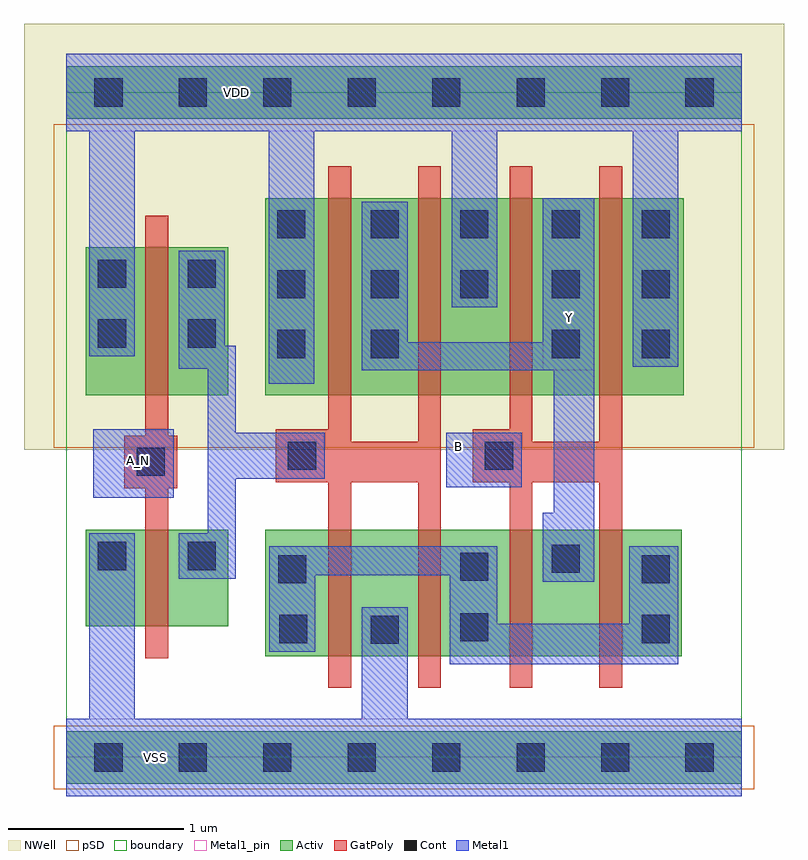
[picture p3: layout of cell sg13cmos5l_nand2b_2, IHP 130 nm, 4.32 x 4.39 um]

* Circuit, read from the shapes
.subckt sg13cmos5l_nand2b_2 A_N B VDD VSS Y
XM1 n1 A_N VSS VSS sg13_lv_nmos w=0.55u l=0.13u
XM2 VSS n1 n2 VSS sg13_lv_nmos w=0.72u l=0.13u m=2
XM3 Y B n2 VSS sg13_lv_nmos w=0.72u l=0.13u m=2
XM4 n1 A_N VDD VDD sg13_lv_pmos w=0.84u l=0.13u
XM5 Y n1 VDD VDD sg13_lv_pmos w=1.12u l=0.13u m=2
XM6 Y B VDD VDD sg13_lv_pmos w=1.12u l=0.13u m=2
.ends

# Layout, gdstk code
import gdstk
lib = gdstk.Library(unit=1e-6, precision=1e-09)
def R(c, l, rs):  # rectangles x0, y0, x1, y1
    for r in rs: c.add(gdstk.rectangle(r[:2], r[2:], *l))
def A(c, l, x, y, w, h, nx, ny, dx, dy):  # array of equal rectangles
    R(c, l, [(x+i*dx, y+j*dy, x+i*dx+w, y+j*dy+h) for i in range(nx) for j in range(ny)])
def P(c, l, *ps):  # polygons
    for p in ps: c.add(gdstk.Polygon(p, *l))
Activ = (1, 0)
GatPoly = (5, 0)
Cont = (6, 0)
Metal1 = (8, 0)
Metal1_pin = (8, 2)
pSD = (14, 0)
NWell = (31, 0)
boundary = (189, 4)

sg13cmos5l_nand2b_2 = lib.new_cell('sg13cmos5l_nand2b_2')
R(sg13cmos5l_nand2b_2, Activ, [(0,-0.15,3.84,0.15), (1.13,0.575,3.5,1.295), (0.11,0.745,0.92,1.295), (0.11,2.06,0.92,2.9), (1.13,2.06,3.51,3.18), (0,3.63,3.84,3.93)])
P(sg13cmos5l_nand2b_2, GatPoly, [(1.49,0.395),(1.49,1.565),(1.19,1.565),(1.19,1.865),(1.49,1.865),(1.49,3.36),(1.62,3.36),(1.62,1.795),(2,1.795),(2,3.36),(2.13,3.36),(2.13,0.395),(2,0.395),(2,1.565),(1.62,1.565),(1.62,0.395)],
  [(0.45,0.565),(0.45,1.53),(0.33,1.53),(0.33,1.83),(0.45,1.83),(0.45,3.08),(0.58,3.08),(0.58,1.83),(0.63,1.83),(0.63,1.53),(0.58,1.53),(0.58,0.565)],
  [(2.52,0.395),(2.52,1.565),(2.31,1.565),(2.31,1.865),(2.52,1.865),(2.52,3.36),(2.65,3.36),(2.65,1.795),(3.03,1.795),(3.03,3.36),(3.16,3.36),(3.16,0.395),(3.03,0.395),(3.03,1.565),(2.65,1.565),(2.65,0.395)])
A(sg13cmos5l_nand2b_2, Cont, 0.16, -0.08, 0.16, 0.16, 8, 2, 0.48, 3.78)
A(sg13cmos5l_nand2b_2, Cont, 1.2, 2.27, 0.16, 0.16, 1, 3, 0, 0.34)
A(sg13cmos5l_nand2b_2, Cont, 1.73, 2.27, 0.16, 0.16, 1, 3, 0, 0.34)
A(sg13cmos5l_nand2b_2, Cont, 2.76, 2.27, 0.16, 0.16, 1, 3, 0, 0.34)
A(sg13cmos5l_nand2b_2, Cont, 3.27, 2.27, 0.16, 0.16, 1, 3, 0, 0.34)
R(sg13cmos5l_nand2b_2, Cont, [(1.73,0.645,1.89,0.805), (1.21,0.65,1.37,0.81), (3.27,0.65,3.43,0.81), (2.24,0.66,2.4,0.82), (1.205,0.99,1.365,1.15), (3.27,0.99,3.43,1.15), (2.24,1.005,2.4,1.165), (2.76,1.05,2.92,1.21), (0.18,1.065,0.34,1.225), (0.69,1.065,0.85,1.225), (0.4,1.6,0.56,1.76), (1.26,1.635,1.42,1.795), (2.38,1.635,2.54,1.795), (0.18,2.33,0.34,2.49), (0.69,2.33,0.85,2.49), (2.24,2.61,2.4,2.77), (0.18,2.67,0.34,2.83), (0.69,2.67,0.85,2.83), (2.24,2.95,2.4,3.11)])
R(sg13cmos5l_nand2b_2, Metal1, [(0.155,1.475,0.61,1.865), (2.16,1.535,2.59,1.845)])
P(sg13cmos5l_nand2b_2, Metal1, [(2.18,0.53),(2.18,1.035),(1.415,1.035),(1.415,0.6),(1.155,0.6),(1.155,1.2),(2.45,1.2),(2.45,0.76),(3.2,0.76),(3.2,1.2),(3.48,1.2),(3.48,0.53)],
  [(2.71,1),(2.71,1.39),(2.77,1.39),(2.77,2.2),(1.68,2.2),(1.68,3.16),(1.94,3.16),(1.94,2.36),(2.71,2.36),(2.71,3.18),(3,3.18),(3,1)],
  [(0,-0.22),(0,0.22),(0.13,0.22),(0.13,1.275),(0.39,1.275),(0.39,0.22),(1.68,0.22),(1.68,0.855),(1.94,0.855),(1.94,0.22),(3.84,0.22),(3.84,-0.22)],
  [(0.64,1.015),(0.64,1.275),(0.805,1.275),(0.805,2.21),(0.64,2.21),(0.64,2.88),(0.9,2.88),(0.9,2.34),(0.965,2.34),(0.965,1.845),(1.47,1.845),(1.47,1.585),(0.965,1.585),(0.965,1.015)],
  [(1.15,2.125),(1.15,3.56),(0.39,3.56),(0.39,2.28),(0.13,2.28),(0.13,3.56),(0,3.56),(0,4),(3.84,4),(3.84,3.56),(3.48,3.56),(3.48,2.22),(3.22,2.22),(3.22,3.56),(2.45,3.56),(2.45,2.56),(2.19,2.56),(2.19,3.56),(1.41,3.56),(1.41,2.125)])
R(sg13cmos5l_nand2b_2, Metal1_pin, [(0,-0.22,3.84,0.22), (0.155,1.475,0.61,1.865), (2.16,1.535,2.59,1.845), (2.71,2.2,3,3.18), (0,3.56,3.84,4)])
R(sg13cmos5l_nand2b_2, pSD, [(-0.07,-0.18,3.91,0.18), (-0.07,1.76,3.91,3.6)])
R(sg13cmos5l_nand2b_2, NWell, [(-0.24,1.75,4.08,4.17)])
R(sg13cmos5l_nand2b_2, boundary, [(0,0,3.84,3.78)])
sg13cmos5l_nand2b_2.add(gdstk.Label('A_N', (0.41,1.69), layer=8, texttype=25))
sg13cmos5l_nand2b_2.add(gdstk.Label('Y', (2.86,2.5), layer=8, texttype=25))
sg13cmos5l_nand2b_2.add(gdstk.Label('VDD', (0.97,3.78), layer=8, texttype=25))
sg13cmos5l_nand2b_2.add(gdstk.Label('VSS', (0.51,0), layer=8, texttype=25))
sg13cmos5l_nand2b_2.add(gdstk.Label('B', (2.23,1.765), layer=8, texttype=25))

lib.write_gds('sg13cmos5l_nand2b_2.gds')
